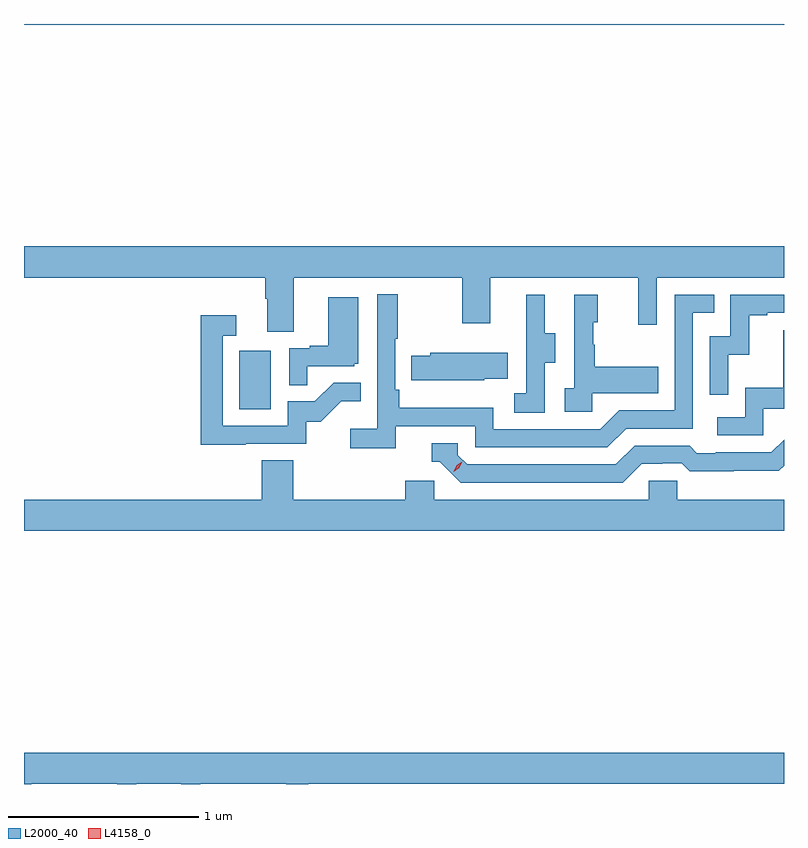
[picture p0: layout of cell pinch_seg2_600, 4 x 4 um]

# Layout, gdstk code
import gdstk
lib = gdstk.Library(unit=1e-6, precision=1e-09)
def R(c, l, rs):  # rectangles x0, y0, x1, y1
    for r in rs: c.add(gdstk.rectangle(r[:2], r[2:], *l))
def P(c, l, *ps):  # polygons
    for p in ps: c.add(gdstk.Polygon(p, *l))
L2000_40 = (2000, 40)
L4158_0 = (4158, 0)

pinch_seg2_600 = lib.new_cell('pinch_seg2_600')
R(pinch_seg2_600, L2000_40, [(1045.106,608.316,1045.27,608.623), (1043.972,610.34,1047.972,610.343)])
P(pinch_seg2_600, L2000_40, [(1045.393,609.008),(1046.278,609.008),(1046.278,608.769),(1046.425,608.769),(1046.425,609.008),(1047.206,609.008),(1047.206,608.76),(1047.303,608.76),(1047.303,609.008),(1047.972,609.008),(1047.972,609.172),(1043.972,609.172),(1043.972,609.008),(1045.241,609.008),(1045.241,608.896),(1045.253,608.896),(1045.253,608.722),(1045.393,608.722)],
  [(1045.928,608.226),(1046.346,608.226),(1046.346,608.115),(1047.043,608.115),(1047.142,608.214),(1047.492,608.214),(1047.492,608.823),(1047.605,608.823),(1047.605,608.919),(1047.396,608.919),(1047.396,608.31),(1047.105,608.31),(1047.006,608.211),(1046.442,608.211),(1046.442,608.323),(1045.946,608.323),(1045.946,608.419),(1045.926,608.419),(1045.926,608.686),(1045.939,608.686),(1045.939,608.92),(1045.83,608.92),(1045.83,608.212),(1045.689,608.212),(1045.689,608.11),(1045.928,608.11)],
  [(1047.678,608.603),(1047.788,608.603),(1047.788,608.811),(1047.883,608.811),(1047.883,608.823),(1047.972,608.823),(1047.972,608.919),(1047.69,608.919),(1047.69,608.7),(1047.582,608.7),(1047.582,608.391),(1047.678,608.391)],
  [(1046.964,608.399),(1047.311,608.399),(1047.311,608.539),(1046.977,608.539),(1046.977,608.654),(1046.967,608.654),(1046.967,608.772),(1046.992,608.772),(1046.992,608.917),(1046.868,608.917),(1046.868,608.426),(1046.817,608.426),(1046.817,608.301),(1046.964,608.301)],
  [(1046.712,608.56),(1046.767,608.56),(1046.767,608.715),(1046.713,608.715),(1046.713,608.917),(1046.615,608.917),(1046.615,608.703),(1046.616,608.703),(1046.616,608.399),(1046.553,608.399),(1046.553,608.296),(1046.712,608.296)],
  [(1045.463,608.541),(1045.71,608.541),(1045.71,608.556),(1045.732,608.556),(1045.732,608.905),(1045.574,608.905),(1045.574,608.65),(1045.475,608.65),(1045.475,608.637),(1045.368,608.637),(1045.368,608.443),(1045.463,608.443)],
  [(1045.139,608.133),(1045.458,608.133),(1045.458,608.25),(1045.534,608.25),(1045.641,608.357),(1045.745,608.357),(1045.745,608.456),(1045.601,608.456),(1045.503,608.358),(1045.359,608.358),(1045.359,608.229),(1045.017,608.229),(1045.017,608.703),(1045.09,608.703),(1045.09,608.809),(1044.901,608.809),(1044.901,608.128),(1045.139,608.128)],
  [(1047.864,608.319),(1047.972,608.319),(1047.972,608.731),(1047.967,608.731),(1047.967,608.428),(1047.768,608.428),(1047.768,608.274),(1047.621,608.274),(1047.621,608.178),(1047.864,608.178)],
  [(1046.394,608.477),(1046.519,608.477),(1046.519,608.614),(1046.109,608.614),(1046.109,608.598),(1046.011,608.598),(1046.011,608.468),(1046.394,608.468)],
  [(1047.223,608.028),(1047.33,608.028),(1047.33,608.031),(1047.433,608.031),(1047.475,607.989),(1047.708,607.989),(1047.708,607.991),(1047.944,607.991),(1047.972,608.019),(1047.972,608.154),(1047.906,608.088),(1047.613,608.088),(1047.613,608.085),(1047.514,608.085),(1047.475,608.124),(1047.186,608.124),(1047.087,608.025),(1046.304,608.025),(1046.256,608.073),(1046.256,608.136),(1046.117,608.136),(1046.117,608.04),(1046.16,608.04),(1046.271,607.929),(1047.124,607.929)],
  [(1047.972,607.84),(1047.411,607.84),(1047.411,607.938),(1047.261,607.938),(1047.261,607.84),(1046.13,607.84),(1046.13,607.938),(1045.978,607.938),(1045.978,607.84),(1045.388,607.84),(1045.388,608.048),(1045.223,608.048),(1045.223,607.84),(1043.972,607.84),(1043.972,607.676),(1047.972,607.676)],
  [(1044.009,606.344),(1044.464,606.344),(1044.464,606.343),(1044.564,606.343),(1044.564,606.344),(1044.799,606.344),(1044.799,606.343),(1044.899,606.343),(1044.899,606.344),(1045.352,606.344),(1045.352,606.343),(1045.469,606.343),(1045.469,606.344),(1047.972,606.344),(1047.972,606.508),(1043.972,606.508),(1043.972,606.343),(1044.009,606.343)])
P(pinch_seg2_600, L4158_0, [(1046.233,607.987),(1046.233,607.987),(1046.249,608.02),(1046.279,608.04),(1046.279,608.04),(1046.279,608.039),(1046.264,608.007),(1046.233,607.987)])

lib.write_gds('pinch_seg2_600.gds')
